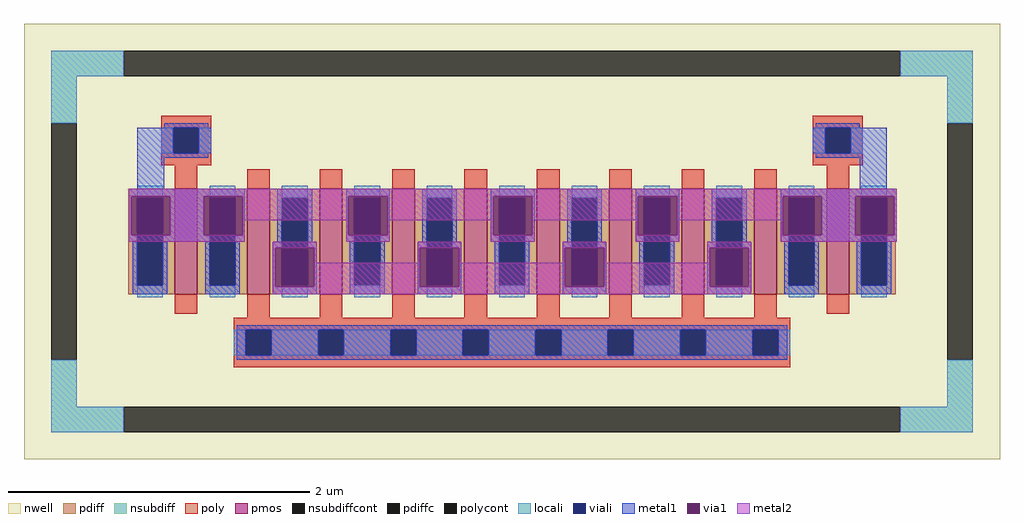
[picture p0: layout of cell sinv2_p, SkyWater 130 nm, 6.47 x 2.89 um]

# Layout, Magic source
magic
tech sky130A
magscale 1 2
<< nwell >>
rect -647 -289 647 289
<< pmos >>
rect -447 -70 -417 70
rect -351 -70 -321 70
rect -255 -70 -225 70
rect -159 -70 -129 70
rect -63 -70 -33 70
rect 33 -70 63 70
rect 129 -70 159 70
rect 225 -70 255 70
rect 321 -70 351 70
rect 417 -70 447 70
<< pdiff >>
rect -509 58 -447 70
rect -509 -58 -497 58
rect -463 -58 -447 58
rect -509 -70 -447 -58
rect -417 58 -351 70
rect -417 -58 -401 58
rect -367 -58 -351 58
rect -417 -70 -351 -58
rect -321 58 -255 70
rect -321 -58 -305 58
rect -271 -58 -255 58
rect -321 -70 -255 -58
rect -225 58 -159 70
rect -225 -58 -209 58
rect -175 -58 -159 58
rect -225 -70 -159 -58
rect -129 58 -63 70
rect -129 -58 -113 58
rect -79 -58 -63 58
rect -129 -70 -63 -58
rect -33 58 33 70
rect -33 -58 -17 58
rect 17 -58 33 58
rect -33 -70 33 -58
rect 63 58 129 70
rect 63 -58 79 58
rect 113 -58 129 58
rect 63 -70 129 -58
rect 159 58 225 70
rect 159 -58 175 58
rect 209 -58 225 58
rect 159 -70 225 -58
rect 255 58 321 70
rect 255 -58 271 58
rect 305 -58 321 58
rect 255 -70 321 -58
rect 351 58 417 70
rect 351 -58 367 58
rect 401 -58 417 58
rect 351 -70 417 -58
rect 447 58 510 70
rect 447 -58 463 58
rect 497 0 510 58
rect 497 -58 509 0
rect 447 -70 509 -58
<< pdiffc >>
rect -497 -58 -463 58
rect -401 -58 -367 58
rect -305 -58 -271 58
rect -209 -58 -175 58
rect -113 -58 -79 58
rect -17 -58 17 58
rect 79 -58 113 58
rect 175 -58 209 58
rect 271 -58 305 58
rect 367 -58 401 58
rect 463 -58 497 58
<< nsubdiff >>
rect -611 219 -515 253
rect 515 219 611 253
rect -611 157 -577 219
rect 577 157 611 219
rect -611 -219 -577 -157
rect 577 -219 611 -157
rect -611 -253 -515 -219
rect 515 -253 611 -219
<< nsubdiffcont >>
rect -515 219 515 253
rect -611 -157 -577 157
rect 577 -157 611 157
rect -515 -253 515 -219
<< poly >>
rect -465 151 -399 167
rect -465 117 -449 151
rect -415 117 -399 151
rect -465 101 -399 117
rect 399 151 465 167
rect 399 117 415 151
rect 449 117 465 151
rect 399 101 465 117
rect -447 70 -417 101
rect -351 70 -321 96
rect -255 70 -225 96
rect -159 70 -129 96
rect -63 70 -33 96
rect 33 70 63 96
rect 129 70 159 96
rect 225 70 255 96
rect 321 70 351 96
rect 417 70 447 101
rect -447 -96 -417 -70
rect -351 -101 -321 -70
rect -255 -101 -225 -70
rect -159 -101 -129 -70
rect -63 -101 -33 -70
rect 33 -101 63 -70
rect 129 -101 159 -70
rect 225 -101 255 -70
rect 321 -101 351 -70
rect 417 -96 447 -70
rect -369 -117 369 -101
rect -369 -151 -353 -117
rect -319 -151 -257 -117
rect -223 -151 -161 -117
rect -127 -151 -65 -117
rect -31 -151 31 -117
rect 65 -151 127 -117
rect 161 -151 223 -117
rect 257 -151 319 -117
rect 353 -151 369 -117
rect -369 -167 369 -151
<< polycont >>
rect -449 117 -415 151
rect 415 117 449 151
rect -353 -151 -319 -117
rect -257 -151 -223 -117
rect -161 -151 -127 -117
rect -65 -151 -31 -117
rect 31 -151 65 -117
rect 127 -151 161 -117
rect 223 -151 257 -117
rect 319 -151 353 -117
<< locali >>
rect -611 219 -515 253
rect 515 219 611 253
rect -611 157 -577 219
rect 577 157 611 219
rect -465 117 -449 151
rect -415 117 -399 151
rect 399 117 415 151
rect 449 117 465 151
rect -497 58 -463 74
rect -497 -74 -463 -58
rect -401 58 -367 74
rect -401 -74 -367 -58
rect -305 58 -271 74
rect -305 -74 -271 -58
rect -209 58 -175 74
rect -209 -74 -175 -58
rect -113 58 -79 74
rect -113 -74 -79 -58
rect -17 58 17 74
rect -17 -74 17 -58
rect 79 58 113 74
rect 79 -74 113 -58
rect 175 58 209 74
rect 175 -74 209 -58
rect 271 58 305 74
rect 271 -74 305 -58
rect 367 58 401 74
rect 367 -74 401 -58
rect 463 58 497 74
rect 463 -74 497 -58
rect -369 -151 -353 -117
rect -319 -151 -257 -117
rect -223 -151 -161 -117
rect -127 -151 -65 -117
rect -31 -151 31 -117
rect 65 -151 127 -117
rect 161 -151 223 -117
rect 257 -151 319 -117
rect 353 -151 369 -117
rect -611 -219 -577 -157
rect 577 -219 611 -157
rect -611 -253 -515 -219
rect 515 -253 611 -219
<< viali >>
rect -449 117 -415 151
rect 415 117 449 151
rect -497 -58 -463 58
rect -401 -58 -367 58
rect -305 -58 -271 58
rect -209 -58 -175 58
rect -113 -58 -79 58
rect -17 -58 17 58
rect 79 -58 113 58
rect 175 -58 209 58
rect 271 -58 305 58
rect 367 -58 401 58
rect 463 -58 497 58
rect -353 -151 -319 -117
rect -257 -151 -223 -117
rect -161 -151 -127 -117
rect -65 -151 -31 -117
rect 31 -151 65 -117
rect 127 -151 161 -117
rect 223 -151 257 -117
rect 319 -151 353 -117
<< metal1 >>
rect -461 151 -403 157
rect 403 151 461 157
rect -497 117 -449 151
rect -415 117 -399 151
rect 399 117 415 151
rect 449 117 497 151
rect -497 111 -403 117
rect 403 111 497 117
rect -497 70 -461 111
rect 461 70 497 111
rect -508 60 -354 70
rect -508 8 -505 60
rect -453 8 -409 60
rect -357 8 -354 60
rect -508 0 -497 8
rect -503 -58 -497 0
rect -463 0 -401 8
rect -463 -58 -457 0
rect -503 -70 -457 -58
rect -407 -58 -401 0
rect -367 0 -354 8
rect -311 58 -265 70
rect -311 0 -305 58
rect -367 -58 -361 0
rect -407 -70 -361 -58
rect -317 -8 -305 0
rect -271 0 -265 58
rect -220 60 -162 70
rect -220 8 -217 60
rect -165 8 -162 60
rect -220 0 -209 8
rect -271 -8 -259 0
rect -317 -60 -314 -8
rect -262 -60 -259 -8
rect -317 -70 -259 -60
rect -215 -58 -209 0
rect -175 0 -162 8
rect -119 58 -73 70
rect -119 0 -113 58
rect -175 -58 -169 0
rect -215 -70 -169 -58
rect -125 -8 -113 0
rect -79 0 -73 58
rect -28 60 30 70
rect -28 8 -25 60
rect 27 8 30 60
rect -28 0 -17 8
rect -79 -8 -67 0
rect -125 -60 -122 -8
rect -70 -60 -67 -8
rect -125 -70 -67 -60
rect -23 -58 -17 0
rect 17 0 30 8
rect 73 58 119 70
rect 73 0 79 58
rect 17 -58 23 0
rect -23 -70 23 -58
rect 67 -8 79 0
rect 113 0 119 58
rect 164 60 222 70
rect 164 8 167 60
rect 219 8 222 60
rect 164 0 175 8
rect 113 -8 125 0
rect 67 -60 70 -8
rect 122 -60 125 -8
rect 67 -70 125 -60
rect 169 -58 175 0
rect 209 0 222 8
rect 265 58 311 70
rect 265 0 271 58
rect 209 -58 215 0
rect 169 -70 215 -58
rect 259 -8 271 0
rect 305 0 311 58
rect 356 60 510 70
rect 356 8 359 60
rect 411 8 455 60
rect 507 8 510 60
rect 356 0 367 8
rect 305 -8 317 0
rect 259 -60 262 -8
rect 314 -60 317 -8
rect 259 -70 317 -60
rect 361 -58 367 0
rect 401 0 463 8
rect 401 -58 407 0
rect 361 -70 407 -58
rect 457 -58 463 0
rect 497 0 510 8
rect 497 -58 503 0
rect 457 -70 503 -58
rect -365 -117 365 -111
rect -365 -151 -353 -117
rect -319 -151 -257 -117
rect -223 -151 -161 -117
rect -127 -151 -65 -117
rect -31 -151 31 -117
rect 65 -151 127 -117
rect 161 -151 223 -117
rect 257 -151 319 -117
rect 353 -151 365 -117
rect -365 -157 365 -151
<< via1 >>
rect -505 58 -453 60
rect -505 8 -497 58
rect -497 8 -463 58
rect -463 8 -453 58
rect -409 58 -357 60
rect -409 8 -401 58
rect -401 8 -367 58
rect -367 8 -357 58
rect -217 58 -165 60
rect -217 8 -209 58
rect -209 8 -175 58
rect -175 8 -165 58
rect -314 -58 -305 -8
rect -305 -58 -271 -8
rect -271 -58 -262 -8
rect -314 -60 -262 -58
rect -25 58 27 60
rect -25 8 -17 58
rect -17 8 17 58
rect 17 8 27 58
rect -122 -58 -113 -8
rect -113 -58 -79 -8
rect -79 -58 -70 -8
rect -122 -60 -70 -58
rect 167 58 219 60
rect 167 8 175 58
rect 175 8 209 58
rect 209 8 219 58
rect 70 -58 79 -8
rect 79 -58 113 -8
rect 113 -58 122 -8
rect 70 -60 122 -58
rect 359 58 411 60
rect 359 8 367 58
rect 367 8 401 58
rect 401 8 411 58
rect 455 58 507 60
rect 455 8 463 58
rect 463 8 497 58
rect 497 8 507 58
rect 262 -58 271 -8
rect 271 -58 305 -8
rect 305 -58 314 -8
rect 262 -60 314 -58
<< metal2 >>
rect -508 60 510 70
rect -508 8 -505 60
rect -453 8 -409 60
rect -357 28 -217 60
rect -357 8 -354 28
rect -508 0 -354 8
rect -220 8 -217 28
rect -165 28 -25 60
rect -165 8 -162 28
rect -220 0 -162 8
rect -28 8 -25 28
rect 27 28 167 60
rect 27 8 30 28
rect -28 0 30 8
rect 164 8 167 28
rect 219 28 359 60
rect 219 8 222 28
rect 164 0 222 8
rect 356 8 359 28
rect 411 8 455 60
rect 507 8 510 60
rect 356 0 510 8
rect -317 -8 -259 0
rect -317 -60 -314 -8
rect -262 -28 -259 -8
rect -125 -8 -67 0
rect -125 -28 -122 -8
rect -262 -60 -122 -28
rect -70 -28 -67 -8
rect 67 -8 125 0
rect 67 -28 70 -8
rect -70 -60 70 -28
rect 122 -28 125 -8
rect 259 -8 317 0
rect 259 -28 262 -8
rect 122 -60 262 -28
rect 314 -60 317 -8
rect -317 -70 317 -60
<< properties >>
string FIXED_BBOX -594 -236 594 236
string gencell sky130_fd_pr__pfet_01v8
string library sky130
string parameters w 0.7 l 0.15 m 1 nf 10 diffcov 100 polycov 100 guard 1 glc 1 grc 1 gtc 1 gbc 1 tbcov 100 rlcov 100 topc 1 botc 1 poverlap 0 doverlap 1 lmin 0.15 wmin 0.42 compatible {sky130_fd_pr__pfet_01v8  sky130_fd_pr__pfet_01v8_lvt sky130_fd_pr__pfet_01v8_hvt  sky130_fd_pr__pfet_g5v0d10v5} full_metal 1 viasrc 100 viadrn 100 viagate 100 viagb 0 viagr 0 viagl 0 viagt 0
<< end >>
